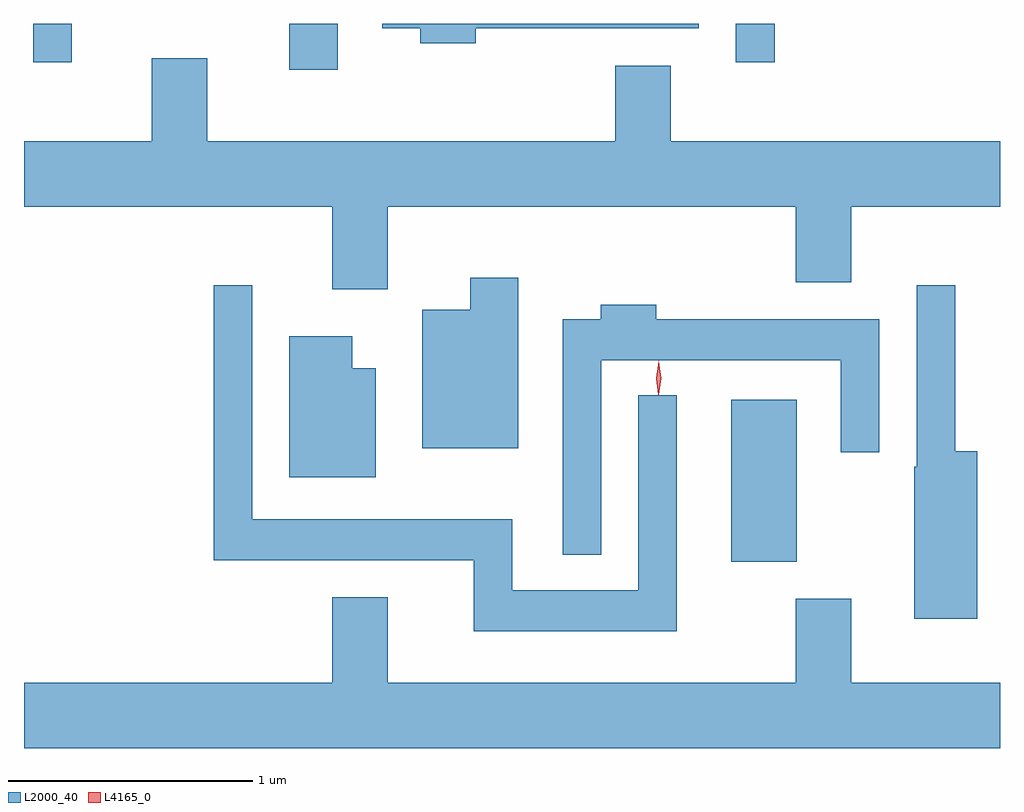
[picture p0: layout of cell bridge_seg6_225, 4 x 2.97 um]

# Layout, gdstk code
import gdstk
lib = gdstk.Library(unit=1e-6, precision=1e-09)
def R(c, l, rs):  # rectangles x0, y0, x1, y1
    for r in rs: c.add(gdstk.rectangle(r[:2], r[2:], *l))
def P(c, l, *ps):  # polygons
    for p in ps: c.add(gdstk.Polygon(p, *l))
L2000_40 = (2000, 40)
L4165_0 = (4165, 0)

bridge_seg6_225 = lib.new_cell('bridge_seg6_225')
R(bridge_seg6_225, L2000_40, [(1128.046,1564.121,1128.314,1564.784), (1126.236,1566.136,1126.434,1566.325), (1125.186,1566.168,1125.344,1566.325), (1128.066,1566.168,1128.224,1566.325)])
P(bridge_seg6_225, L2000_40, [(1126.999,1566.306),(1127.914,1566.306),(1127.914,1566.325),(1126.616,1566.325),(1126.616,1566.306),(1126.771,1566.306),(1126.771,1566.246),(1126.999,1566.246)],
  [(1125.671,1566.184),(1125.671,1565.844),(1125.148,1565.844),(1125.148,1565.576),(1126.411,1565.576),(1126.411,1565.236),(1126.639,1565.236),(1126.639,1565.576),(1128.311,1565.576),(1128.311,1565.266),(1128.539,1565.266),(1128.539,1565.576),(1129.148,1565.576),(1129.148,1565.844),(1127.799,1565.844),(1127.799,1566.154),(1127.571,1566.154),(1127.571,1565.844),(1125.899,1565.844),(1125.899,1566.184)],
  [(1127.174,1565.284),(1126.976,1565.284),(1126.976,1565.154),(1126.781,1565.154),(1126.781,1564.586),(1127.174,1564.586)],
  [(1129.054,1564.574),(1128.964,1564.574),(1128.964,1565.253),(1128.806,1565.253),(1128.806,1564.51),(1128.796,1564.51),(1128.796,1563.886),(1129.054,1563.886)],
  [(1127.824,1564.803),(1127.666,1564.803),(1127.666,1564.004),(1127.149,1564.004),(1127.149,1564.294),(1126.084,1564.294),(1126.084,1565.253),(1125.926,1565.253),(1125.926,1564.126),(1126.991,1564.126),(1126.991,1563.836),(1127.824,1563.836)],
  [(1127.514,1564.946),(1128.496,1564.946),(1128.496,1564.568),(1128.654,1564.568),(1128.654,1565.114),(1127.739,1565.114),(1127.739,1565.174),(1127.511,1565.174),(1127.511,1565.114),(1127.356,1565.114),(1127.356,1564.148),(1127.514,1564.148)],
  [(1126.589,1564.914),(1126.494,1564.914),(1126.494,1565.044),(1126.236,1565.044),(1126.236,1564.466),(1126.589,1564.466)],
  [(1129.148,1563.624),(1128.539,1563.624),(1128.539,1563.969),(1128.311,1563.969),(1128.311,1563.624),(1126.639,1563.624),(1126.639,1563.974),(1126.411,1563.974),(1126.411,1563.624),(1125.148,1563.624),(1125.148,1563.356),(1129.148,1563.356)])
P(bridge_seg6_225, L4165_0, [(1127.749,1564.803),(1127.748,1564.804),(1127.74,1564.873),(1127.749,1564.942),(1127.75,1564.943),(1127.75,1564.942),(1127.759,1564.873),(1127.75,1564.804)])

lib.write_gds('bridge_seg6_225.gds')
